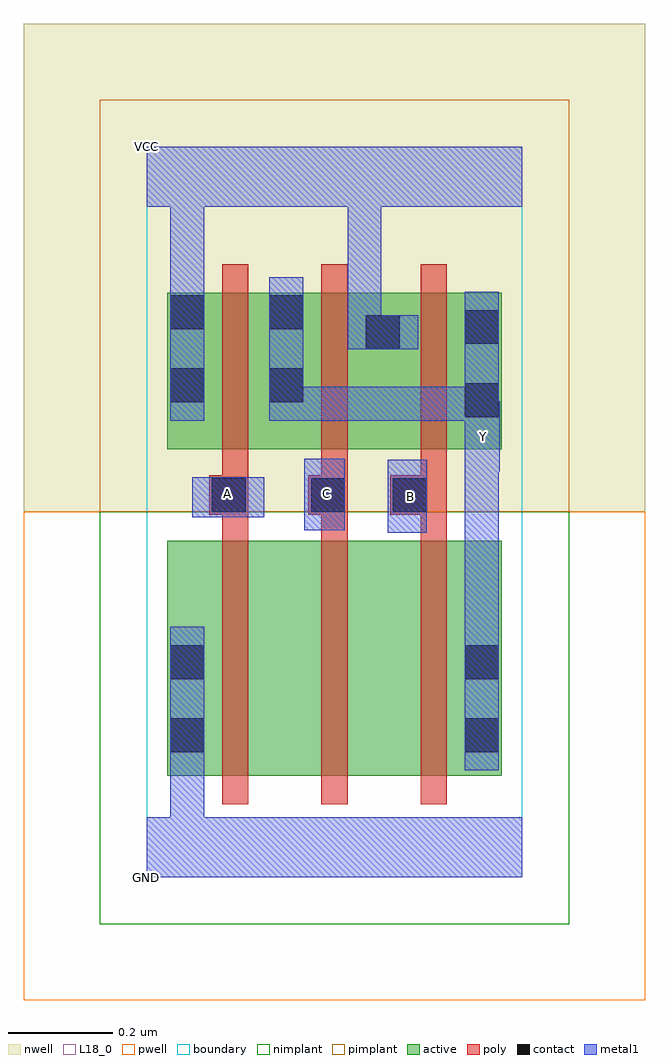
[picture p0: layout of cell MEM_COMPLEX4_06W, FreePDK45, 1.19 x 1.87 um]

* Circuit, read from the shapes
.subckt MEM_COMPLEX4_06W A B C GND VCC Y
M1 n1 A GND VSUBS nfet w=0.45u l=0.05u
M2 n2 C n1 VSUBS nfet w=0.45u l=0.05u
M3 Y B n2 VSUBS nfet w=0.45u l=0.05u
M4 Y A VCC n3 pfet w=0.3u l=0.05u
M5 VCC C Y n3 pfet w=0.3u l=0.05u
M6 Y B VCC n3 pfet w=0.3u l=0.05u
.ends

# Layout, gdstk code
import gdstk
lib = gdstk.Library(unit=1e-6, precision=1e-09)
def R(c, l, rs):  # rectangles x0, y0, x1, y1
    for r in rs: c.add(gdstk.rectangle(r[:2], r[2:], *l))
def A(c, l, x, y, w, h, nx, ny, dx, dy):  # array of equal rectangles
    R(c, l, [(x+i*dx, y+j*dy, x+i*dx+w, y+j*dy+h) for i in range(nx) for j in range(ny)])
active = (1, 0)
pwell = (2, 0)
nwell = (3, 0)
nimplant = (4, 0)
pimplant = (5, 0)
poly = (9, 0)
contact = (10, 0)
metal1 = (11, 0)
L18_0 = (18, 0)
boundary = (235, 0)

mem_complex4_06w = lib.new_cell('MEM_COMPLEX4_06W')
R(mem_complex4_06w, active, [(0.04,0.195,0.115,0.645), (0.04,0.195,0.265,0.645), (0.265,0.195,0.455,0.645), (0.455,0.195,0.68,0.645), (0.605,0.195,0.68,0.645), (0.04,0.82,0.305,1.12), (0.04,0.82,0.115,1.12), (0.23,0.82,0.49,1.12), (0.23,0.82,0.305,1.12), (0.415,0.82,0.68,1.12), (0.605,0.82,0.68,1.092), (0.415,0.887,0.49,1.12)])
R(mem_complex4_06w, pwell, [(-0.235,-0.235,0.955,0.7)])
R(mem_complex4_06w, nwell, [(-0.235,0.7,0.955,1.635)])
R(mem_complex4_06w, nimplant, [(-0.09,-0.09,0.81,0.7)])
R(mem_complex4_06w, pimplant, [(-0.09,0.7,0.81,1.49)])
A(mem_complex4_06w, poly, 0.145, 0.14, 0.05, 0.56, 3, 1, 0.19, 0)
A(mem_complex4_06w, poly, 0.145, 0.65, 0.05, 0.095, 3, 2, 0.19, 0.07)
A(mem_complex4_06w, poly, 0.145, 0.765, 0.05, 0.41, 3, 1, 0.19, 0)
R(mem_complex4_06w, poly, [(0.12,0.695,0.195,0.77), (0.31,0.695,0.385,0.77), (0.467,0.695,0.575,0.77)])
R(mem_complex4_06w, contact, [(0.045,0.24,0.11,0.305), (0.61,0.24,0.675,0.305), (0.045,0.38,0.11,0.445), (0.61,0.38,0.675,0.445), (0.125,0.7,0.19,0.765), (0.315,0.7,0.38,0.765), (0.472,0.7,0.537,0.765), (0.61,0.882,0.675,0.947), (0.045,0.91,0.11,0.975), (0.235,0.91,0.3,0.975), (0.42,1.012,0.485,1.077), (0.61,1.022,0.675,1.087), (0.045,1.05,0.11,1.115), (0.235,1.05,0.3,1.115)])
R(mem_complex4_06w, metal1, [(0,0,0.72,0.115), (0.045,0.05,0.11,0.115), (0.045,0.05,0.11,0.115), (0.045,0.05,0.11,0.27), (0.045,0.205,0.11,0.48), (0.61,0.205,0.675,0.48), (0.61,0.415,0.675,0.842), (0.462,0.66,0.537,0.8), (0.302,0.665,0.38,0.802), (0.087,0.69,0.225,0.767), (0.61,0.777,0.677,0.912), (0.61,0.847,0.675,0.912), (0.61,0.847,0.675,1.122), (0.045,0.875,0.11,1.15), (0.235,0.875,0.3,0.94), (0.235,0.875,0.3,0.94), (0.235,0.875,0.3,1.15), (0.235,0.875,0.537,0.94), (0.472,0.875,0.537,0.94), (0.472,0.875,0.537,0.94), (0.472,0.875,0.537,0.94), (0.472,0.875,0.675,0.94), (0.385,1.012,0.45,1.35), (0.385,1.012,0.52,1.077), (0.045,1.085,0.11,1.35), (0,1.285,0.72,1.4), (0.045,1.285,0.11,1.35), (0.045,1.285,0.11,1.35), (0.385,1.285,0.45,1.35), (0.385,1.285,0.45,1.35)])
R(mem_complex4_06w, L18_0, [(0,0,0.72,0.115), (0.045,0.05,0.11,0.115), (0.045,0.05,0.11,0.115), (0.045,0.05,0.11,0.27), (0.045,0.205,0.11,0.48), (0.61,0.205,0.675,0.48), (0.61,0.415,0.675,0.842), (0.462,0.66,0.537,0.8), (0.302,0.665,0.38,0.802), (0.087,0.69,0.225,0.767), (0.472,0.697,0.537,0.762), (0.122,0.702,0.187,0.767), (0.312,0.702,0.377,0.767), (0.61,0.777,0.677,0.912), (0.612,0.812,0.677,0.877), (0.61,0.847,0.675,0.912), (0.61,0.847,0.675,1.122), (0.045,0.875,0.11,1.15), (0.235,0.875,0.3,0.94), (0.235,0.875,0.3,0.94), (0.235,0.875,0.3,1.15), (0.235,0.875,0.537,0.94), (0.472,0.875,0.537,0.94), (0.472,0.875,0.537,0.94), (0.472,0.875,0.537,0.94), (0.472,0.875,0.675,0.94), (0.385,1.012,0.52,1.077), (0.385,1.012,0.45,1.35), (0.045,1.085,0.11,1.35), (0,1.285,0.72,1.4), (0.045,1.285,0.11,1.35), (0.045,1.285,0.11,1.35), (0.385,1.285,0.45,1.35), (0.385,1.285,0.45,1.35)])
R(mem_complex4_06w, boundary, [(0,0,0.72,1.4)])
mem_complex4_06w.add(gdstk.Label('A', (0.155,0.735), layer=11, texttype=0))
mem_complex4_06w.add(gdstk.Label('B', (0.505,0.73), layer=11, texttype=0))
mem_complex4_06w.add(gdstk.Label('C', (0.345,0.735), layer=11, texttype=0))
mem_complex4_06w.add(gdstk.Label('Y', (0.645,0.845), layer=11, texttype=0))
mem_complex4_06w.add(gdstk.Label('VCC', (0,1.4), layer=11, texttype=0))
mem_complex4_06w.add(gdstk.Label('GND', (0,0), layer=11, texttype=0))

lib.write_gds('MEM_COMPLEX4_06W.gds')
